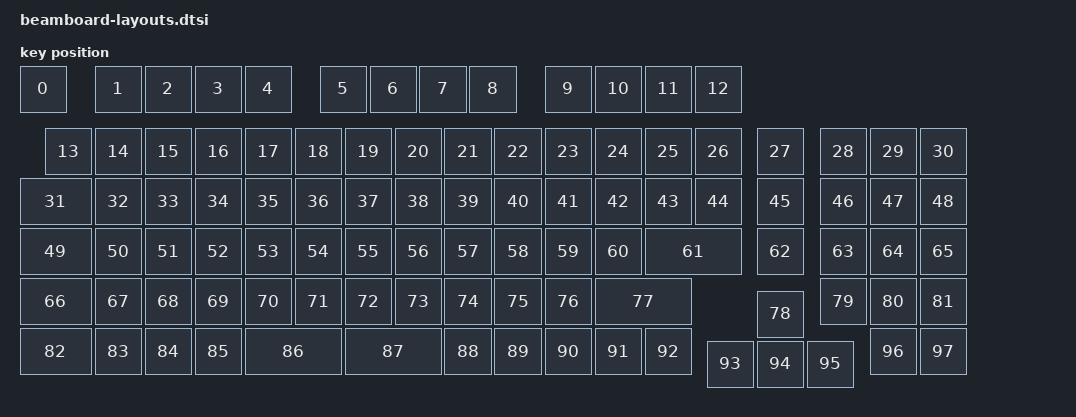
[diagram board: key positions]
#include <physical_layouts.dtsi>

/ {
    physical_layout0: physical_layout_0 {
        compatible = "zmk,physical-layout";
        display-name = "Default";

        keys  //                     w   h    x    y     rot    rx    ry
            = <&key_physical_attrs 100 100    0    0       0     0     0>
            , <&key_physical_attrs 100 100  150    0       0     0     0>
            , <&key_physical_attrs 100 100  250    0       0     0     0>
            , <&key_physical_attrs 100 100  350    0       0     0     0>
            , <&key_physical_attrs 100 100  450    0       0     0     0>
            , <&key_physical_attrs 100 100  600    0       0     0     0>
            , <&key_physical_attrs 100 100  700    0       0     0     0>
            , <&key_physical_attrs 100 100  800    0       0     0     0>
            , <&key_physical_attrs 100 100  900    0       0     0     0>
            , <&key_physical_attrs 100 100 1050    0       0     0     0>
            , <&key_physical_attrs 100 100 1150    0       0     0     0>
            , <&key_physical_attrs 100 100 1250    0       0     0     0>
            , <&key_physical_attrs 100 100 1350    0       0     0     0>
            , <&key_physical_attrs 100 100   50  125       0     0     0>
            , <&key_physical_attrs 100 100  150  125       0     0     0>
            , <&key_physical_attrs 100 100  250  125       0     0     0>
            , <&key_physical_attrs 100 100  350  125       0     0     0>
            , <&key_physical_attrs 100 100  450  125       0     0     0>
            , <&key_physical_attrs 100 100  550  125       0     0     0>
            , <&key_physical_attrs 100 100  650  125       0     0     0>
            , <&key_physical_attrs 100 100  750  125       0     0     0>
            , <&key_physical_attrs 100 100  850  125       0     0     0>
            , <&key_physical_attrs 100 100  950  125       0     0     0>
            , <&key_physical_attrs 100 100 1050  125       0     0     0>
            , <&key_physical_attrs 100 100 1150  125       0     0     0>
            , <&key_physical_attrs 100 100 1250  125       0     0     0>
            , <&key_physical_attrs 100 100 1350  125       0     0     0>
            , <&key_physical_attrs 100 100 1475  125       0     0     0>
            , <&key_physical_attrs 100 100 1600  125       0     0     0>
            , <&key_physical_attrs 100 100 1700  125       0     0     0>
            , <&key_physical_attrs 100 100 1800  125       0     0     0>
            , <&key_physical_attrs 150 100    0  225       0     0     0>
            , <&key_physical_attrs 100 100  150  225       0     0     0>
            , <&key_physical_attrs 100 100  250  225       0     0     0>
            , <&key_physical_attrs 100 100  350  225       0     0     0>
            , <&key_physical_attrs 100 100  450  225       0     0     0>
            , <&key_physical_attrs 100 100  550  225       0     0     0>
            , <&key_physical_attrs 100 100  650  225       0     0     0>
            , <&key_physical_attrs 100 100  750  225       0     0     0>
            , <&key_physical_attrs 100 100  850  225       0     0     0>
            , <&key_physical_attrs 100 100  950  225       0     0     0>
            , <&key_physical_attrs 100 100 1050  225       0     0     0>
            , <&key_physical_attrs 100 100 1150  225       0     0     0>
            , <&key_physical_attrs 100 100 1250  225       0     0     0>
            , <&key_physical_attrs 100 100 1350  225       0     0     0>
            , <&key_physical_attrs 100 100 1475  225       0     0     0>
            , <&key_physical_attrs 100 100 1600  225       0     0     0>
            , <&key_physical_attrs 100 100 1700  225       0     0     0>
            , <&key_physical_attrs 100 100 1800  225       0     0     0>
            , <&key_physical_attrs 150 100    0  325       0     0     0>
            , <&key_physical_attrs 100 100  150  325       0     0     0>
            , <&key_physical_attrs 100 100  250  325       0     0     0>
            , <&key_physical_attrs 100 100  350  325       0     0     0>
            , <&key_physical_attrs 100 100  450  325       0     0     0>
            , <&key_physical_attrs 100 100  550  325       0     0     0>
            , <&key_physical_attrs 100 100  650  325       0     0     0>
            , <&key_physical_attrs 100 100  750  325       0     0     0>
            , <&key_physical_attrs 100 100  850  325       0     0     0>
            , <&key_physical_attrs 100 100  950  325       0     0     0>
            , <&key_physical_attrs 100 100 1050  325       0     0     0>
            , <&key_physical_attrs 100 100 1150  325       0     0     0>
            , <&key_physical_attrs 200 100 1250  325       0     0     0>
            , <&key_physical_attrs 100 100 1475  325       0     0     0>
            , <&key_physical_attrs 100 100 1600  325       0     0     0>
            , <&key_physical_attrs 100 100 1700  325       0     0     0>
            , <&key_physical_attrs 100 100 1800  325       0     0     0>
            , <&key_physical_attrs 150 100    0  425       0     0     0>
            , <&key_physical_attrs 100 100  150  425       0     0     0>
            , <&key_physical_attrs 100 100  250  425       0     0     0>
            , <&key_physical_attrs 100 100  350  425       0     0     0>
            , <&key_physical_attrs 100 100  450  425       0     0     0>
            , <&key_physical_attrs 100 100  550  425       0     0     0>
            , <&key_physical_attrs 100 100  650  425       0     0     0>
            , <&key_physical_attrs 100 100  750  425       0     0     0>
            , <&key_physical_attrs 100 100  850  425       0     0     0>
            , <&key_physical_attrs 100 100  950  425       0     0     0>
            , <&key_physical_attrs 100 100 1050  425       0     0     0>
            , <&key_physical_attrs 200 100 1150  425       0     0     0>
            , <&key_physical_attrs 100 100 1475  450       0     0     0>
            , <&key_physical_attrs 100 100 1600  425       0     0     0>
            , <&key_physical_attrs 100 100 1700  425       0     0     0>
            , <&key_physical_attrs 100 100 1800  425       0     0     0>
            , <&key_physical_attrs 150 100    0  525       0     0     0>
            , <&key_physical_attrs 100 100  150  525       0     0     0>
            , <&key_physical_attrs 100 100  250  525       0     0     0>
            , <&key_physical_attrs 100 100  350  525       0     0     0>
            , <&key_physical_attrs 200 100  450  525       0     0     0>
            , <&key_physical_attrs 200 100  650  525       0     0     0>
            , <&key_physical_attrs 100 100  850  525       0     0     0>
            , <&key_physical_attrs 100 100  950  525       0     0     0>
            , <&key_physical_attrs 100 100 1050  525       0     0     0>
            , <&key_physical_attrs 100 100 1150  525       0     0     0>
            , <&key_physical_attrs 100 100 1250  525       0     0     0>
            , <&key_physical_attrs 100 100 1375  550       0     0     0>
            , <&key_physical_attrs 100 100 1475  550       0     0     0>
            , <&key_physical_attrs 100 100 1575  550       0     0     0>
            , <&key_physical_attrs 100 100 1700  525       0     0     0>
            , <&key_physical_attrs 100 100 1800  525       0     0     0>
            ;
    };

    position_map {
        compatible = "zmk,physical-layout-position-map";

        complete;

        physical_layout0 {
            physical-layout = <&physical_layout0>;
            positions = <>;
        };
    };
};

